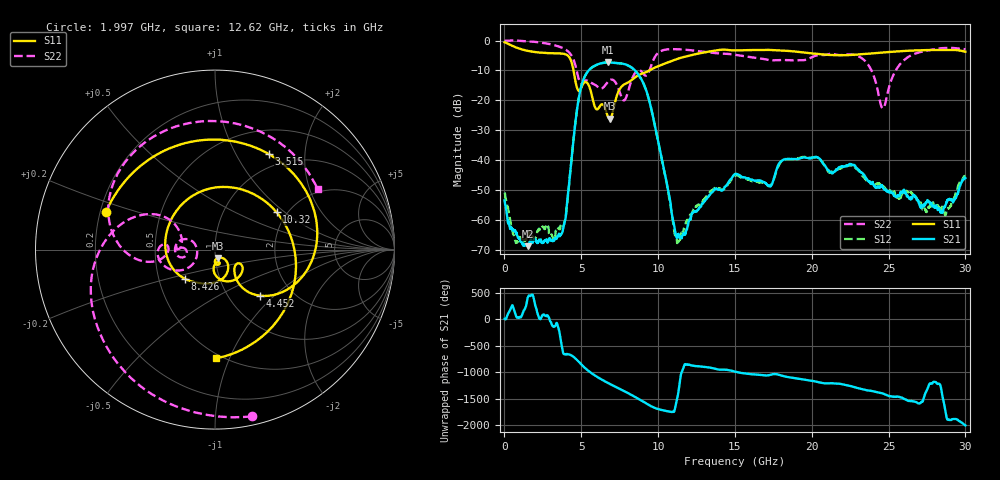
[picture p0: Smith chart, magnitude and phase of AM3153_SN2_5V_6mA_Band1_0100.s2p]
!Agilent Technologies,E8364B,MY43040894,A.07.50.67
!Agilent E8364B: A.07.50.67
!Date: Tuesday, May 12, 2020 09:44:04
!Correction: S11(Full 2 Port(1,2))
!S21(Full 2 Port(1,2))
!S12(Full 2 Port(1,2))
!S22(Full 2 Port(1,2))
!S2P File: Measurements: S11, S21, S12, S22:
# Hz S  dB  R 50
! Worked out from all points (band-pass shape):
!   1601 points, 10 MHz to 30 GHz, reference 50 ohm
!   highest |S21| = -7.32 dB at 6.758 GHz (marker M1); lowest = -68.7 dB at 1.51 GHz (marker M2)
!   |S21| within 3 dB of the highest: 5.429 GHz to 8.555 GHz (3.127 GHz wide, 44.7 % of centre)
!   lowest |S11| = -26.1 dB at 6.851 GHz (marker M3), VSWR 1.10, Z = 51.5 - j4.78 ohm
!   |S11| at or under -10 dB: 4.495 GHz to 9.427 GHz (4.932 GHz wide, 70.9 % of centre)
!   |S22| runs from -22.6 to 0.0 dB; largest |S21 - S12| = 0.0038
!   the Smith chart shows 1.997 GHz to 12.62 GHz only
!   S11 on the Smith chart (normalised r, x): 1.997 GHz: 0.22, +0.16; 3.515 GHz: 0.81, +1.38; 4.452 GHz: 1.39, -0.82; 8.426 GHz: 0.68, -0.23; 10.32 GHz: 1.77, +0.88; 12.62 GHz: 0.47, -0.89
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1e7  -0.59 -10.5  -53.42 9.9  -50.79 47.6  -0.04 -2.0
6.098e8  -1.99 -84.7  -63.65 -164.4  -65.15 174.8  0.03 -23.2
1.5095e9  -3.44 -166.2  -68.72 46.8  -65.79 -161.8  -0.31 -58.6
1.996838e9  -3.84 161.0  -66.42 -87.7  -65.98 156.1  -0.44 -77.6
3.515081e9  -4.28 60.6  -65.24 -165.7  -62.63 98.1  -1.96 -142.1
4.452269e9  -8.89 -45.6  -35.07 20.1  -35.20 20.7  -5.83 161.0
5.014581e9  -15.53 -29.6  -15.01 -137.0  -15.02 -136.8  -14.50 168.8
6.75775e9  -25.73 -81.4  -7.32 -126.8  -7.35 -126.6  -13.62 -169.9
6.851469e9  -26.14 -69.9  -7.32 -140.9  -7.37 -140.6  -13.23 -174.0
8.425944e9  -12.62 -136.0  -9.63 -15.4  -9.69 -15.1  -11.49 -155.1
1.001916e10  -8.54 58.0  -34.00 101.3  -34.09 103.0  -4.05 161.3
1.031906e10  -7.93 31.2  -41.59 79.7  -41.60 81.6  -3.23 141.0
1.125625e10  -6.13 -30.8  -65.67 -36.7  -67.32 -73.1  -2.89 90.7
1.262454e10  -4.35 -89.7  -56.35 -167.5  -54.90 -166.4  -3.55 30.6
1.5005e10  -3.30 -166.3  -44.64 91.5  -45.20 88.0  -4.75 -64.9
1.794777e10  -3.30 107.4  -40.62 23.3  -40.88 23.9  -6.53 173.3
2.000958e10  -4.29 32.7  -39.23 -83.1  -39.06 -83.2  -5.54 26.9
2.132164e10  -4.84 -21.5  -44.27 -128.8  -43.71 -132.3  -4.42 -76.8
2.283989e10  -4.73 -84.3  -41.96 152.1  -42.47 152.6  -4.87 -162.6
2.501416e10  -3.85 -161.1  -50.33 -10.3  -50.44 -8.8  -15.90 -86.4
2.728216e10  -3.22 134.8  -54.85 -51.4  -56.03 -116.0  -3.61 169.4
3e10  -3.72 75.3  -45.98 153.0  -45.29 157.1  -2.90 92.6
